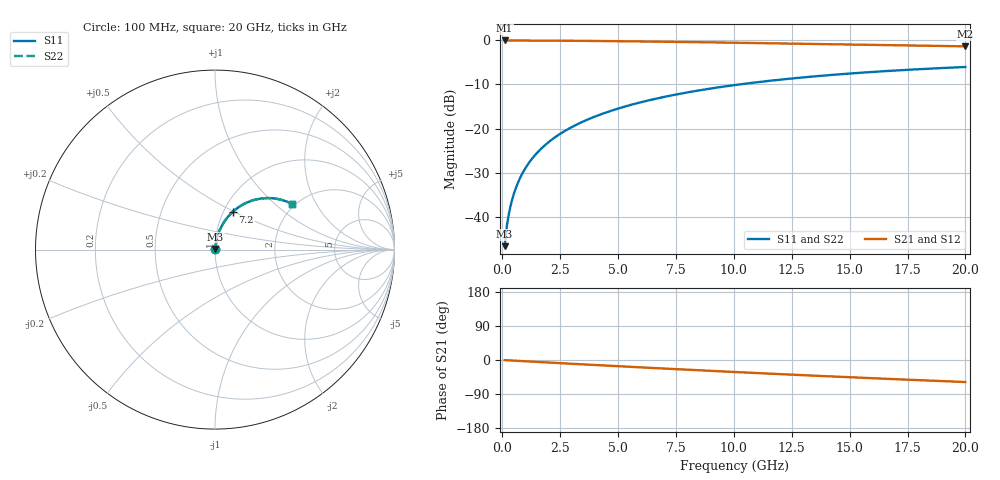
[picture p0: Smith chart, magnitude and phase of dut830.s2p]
! Touchstone file exported from HFSS 2026.1.0
!  File:  C:/ffzhzh/LocalFiles/Ansys_Project_Files/temp_train_BSMRDL_830_1783170224_43440.aedt
!  Generated:  09:05:05 PM Jul  4, 2026
!  Design:  BSMRDL
!  Project:  temp_train_BSMRDL_830_1783170224_43440
! Variables:
!  h_bsmrdl = 5.36um
!  h_ox = 20um
!  h_rdl = 5um
!  h_sub = 80um
!  h_tmrdl = 5um
!  h_tsv = 80um
!  h_via = 3um
!  l_bsmrdl = 900.75um
!  l_sub = 1300.75um
!  l_tmrdl = 200um
!  m_sub = 200um
!  pitch = 58.42um
!  r_tsv = 6um
!  s_tmrdl = 10um
!  w_bsmrdl = 23.62um
!  w_sub = 500um
!  w_tmrdl = 12um
!  x_tsv_center1 = 206um
!  x_tsv_center2 = 1130.37um
!  x_tsv_center3 = 1342.37um
!  x_tsv_center4 = 2266.74um
!  x_tsv_center5 = 2478.74um
!  x_tsv_center6 = 3403.11um
# GHz S MA R 50.000000
! Terminal data exported
! Port[1] = BSM_RDL1_1_T1
! Port[2] = BSM_RDL1_1_T2
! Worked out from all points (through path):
!   200 points, 100 MHz to 20 GHz, reference 50 ohm
!   highest |S21| = -0.02 dB at 100 MHz (marker M1); lowest = -1.4 dB at 20 GHz (marker M2)
!   group delay of S21, straight-line fit = 8.08 ps
!   lowest |S11| = -46.7 dB at 100 MHz (marker M3), VSWR 1.01, Z = 50.3 + j0.379 ohm
!   |S11| at or under -10 dB: start of sweep to 10.23 GHz
!   |S22| runs from -46.7 to -6.0 dB; largest |S21 - S12| = 2.1e-14
!   S11 on the Smith chart (normalised r, x): 100 MHz: 1.01, +0.01; 7.2 GHz: 1.11, +0.50; 20 GHz: 1.92, +1.30
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0.1  0.004644 54.2  0.9973 -0.4  0.9973 -0.4  0.004644 54.2
! Gamma 0 0 0 0
! Port Impedance 50 0 50 0
0.2  0.007962 68.1  0.9971 -0.7  0.9971 -0.7  0.007962 68.1
0.3  0.01137 73.5  0.9969 -1.0  0.9969 -1.0  0.01137 73.5
0.4  0.0148 76.4  0.9968 -1.4  0.9968 -1.4  0.0148 76.4
0.5  0.01825 78.1  0.9966 -1.7  0.9966 -1.7  0.01825 78.1
0.7  0.02518 79.9  0.9963 -2.4  0.9963 -2.4  0.02518 79.9
0.8  0.02866 80.4  0.9962 -2.7  0.9962 -2.7  0.02866 80.4
1  0.03562 80.9  0.9958 -3.4  0.9958 -3.4  0.03562 80.9
1.4  0.04952 80.8  0.9949 -4.7  0.9949 -4.7  0.04952 80.8
1.7  0.0599 80.4  0.9941 -5.7  0.9941 -5.7  0.0599 80.4
2  0.0702 79.7  0.9932 -6.7  0.9932 -6.7  0.0702 79.7
2.7  0.09394 77.9  0.9905 -9.0  0.9905 -9.0  0.09394 77.9
3.5  0.1205 75.6  0.9868 -11.6  0.9868 -11.6  0.1205 75.6
4.2  0.1432 73.5  0.9831 -13.8  0.9831 -13.8  0.1432 73.5
5  0.1685 71.1  0.9784 -16.4  0.9784 -16.4  0.1685 71.1
6.8  0.2229 65.8  0.9663 -22.0  0.9663 -22.0  0.2229 65.8
7.2  0.2345 64.6  0.9633 -23.2  0.9633 -23.2  0.2345 64.6
8.6  0.2737 60.6  0.9523 -27.5  0.9523 -27.5  0.2737 60.6
10.1  0.3129 56.3  0.9397 -31.9  0.9397 -31.9  0.3129 56.3
13.4  0.3889 47.2  0.9104 -41.2  0.9104 -41.2  0.3889 47.2
16.7  0.4506 38.7  0.8815 -49.9  0.8815 -49.9  0.4506 38.7
20  0.4988 30.6  0.8554 -58.2  0.8554 -58.2  0.4988 30.6
